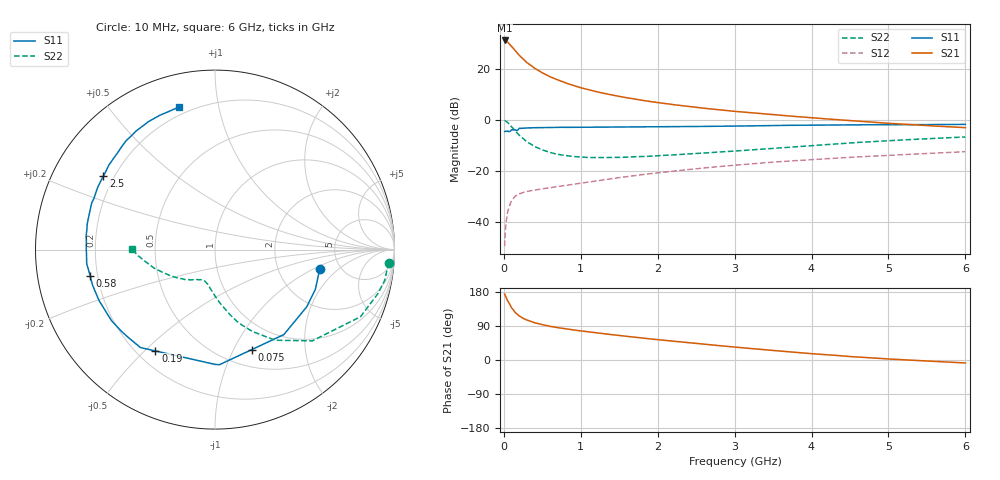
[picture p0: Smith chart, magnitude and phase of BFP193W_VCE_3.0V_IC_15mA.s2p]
! Infineon Technologies  Discrete & RF Semiconductors
! BFP193W
! VCE = 3.0 V,  IC =  15 mA
! Common Emitter S-Parameters:  Jan 2016
# GHz  S  MA  R  50
!  f  S11  S21  S12  S22
! GHz  MAG  ANG  MAG  ANG  MAG  ANG  MAG  ANG
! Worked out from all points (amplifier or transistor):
!   210 points, 10 MHz to 6 GHz, reference 50 ohm
!   highest |S21| = 31.1 dB at 10 MHz (marker M1)
!   |S21| within 3 dB of that: start of sweep to 120.6 MHz
!   unconditionally stable (mu >= 1): 1.072 GHz to 4.223 GHz
!   at 185 MHz: K = 0.33, MSG = 27.5 dB, |S12| = -29.2 dB
!   at 1.52 GHz: K = 1.11, MAG = 13.8 dB, |S12| = -22.5 dB
!   at 6 GHz: K = 0.92, MSG = 4.7 dB, |S12| = -12.4 dB
!   S11 on the Smith chart (normalised r, x): 10 MHz: 3.49, -1.19; 75 MHz: 0.69, -1.18; 190 MHz: 0.27, -0.54; 580 MHz: 0.17, -0.10; 2.5 GHz: 0.16, +0.29; 6 GHz: 0.16, +0.76
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0.01  0.5936 -10.7  35.86 174.0  0.0034 86.9  0.9706 -4.3
0.02  0.6014 -21.6  35.7 169.9  0.0068 80.4  0.9606 -10.4
0.03  0.6024 -32.0  35.15 165.1  0.0102 78.9  0.9397 -15.2
0.05  0.6094 -51.0  33.37 155.9  0.0161 69.3  0.8927 -24.8
0.075  0.5936 -69.9  30.15 147.7  0.021 60.0  0.8074 -33.2
0.1  0.6418 -87.8  27.69 137.7  0.0263 54.4  0.7429 -43.2
0.15  0.6393 -90.1  22.46 124.8  0.0325 45.5  0.6063 -56.4
0.19  0.6551 -120.5  19.18 118.1  0.0351 41.6  0.5225 -63.2
0.2  0.6858 -127.3  18.41 116.1  0.0358 40.7  0.5029 -65.3
0.24  0.6888 -135.7  16.07 111.3  0.0377 38.2  0.4449 -70.5
0.3  0.6995 -145.6  13.24 105.3  0.0399 36.4  0.3733 -76.9
0.4  0.7057 -156.3  10.25 98.2  0.0426 35.5  0.3025 -84.3
0.58  0.7105 -168.0  7.264 89.8  0.0469 37.3  0.2367 -93.3
0.8  0.7162 -177.5  5.311 82.2  0.0526 41.1  0.2009 -100.6
1.02  0.7183 176.2  4.193 76.2  0.0586 43.9  0.1873 -106.5
1.4  0.7267 167.2  3.087 66.8  0.0711 47.7  0.1845 -113.6
2.02  0.7357 154.9  2.167 53.3  0.0931 50.3  0.2007 -122.9
2.5  0.745 146.5  1.763 43.7  0.111 50.2  0.2207 -130.5
3.1  0.7619 136.8  1.43 32.4  0.134 48.4  0.2526 -140.4
4.1  0.7948 122.4  1.074 15.3  0.1714 43.4  0.3219 -157.3
5.1  0.8091 111.7  0.842 1.7  0.2065 37.8  0.4007 -171.3
6  0.8185 104.3  0.707 -7.8  0.2395 32.8  0.4642 179.6
